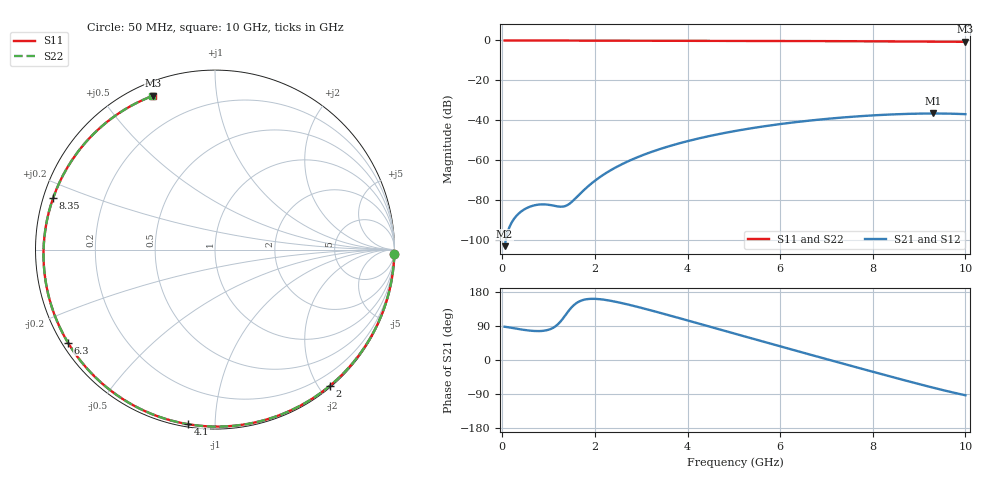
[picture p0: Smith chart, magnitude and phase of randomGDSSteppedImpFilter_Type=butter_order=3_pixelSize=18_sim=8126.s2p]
! freq	dB(S11)	phase(S11)	dB(S12)	phase(S12)
!  dB(S21)	phase(S21)	dB(S22)	phase(S22)
!S-par simulation data
#  GHz  S  DB  R 50
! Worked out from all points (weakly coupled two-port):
!   200 points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, 50 MHz to 10 GHz, reference 50 ohm
!   highest |S21| = -36.62 dB at 9.3 GHz (marker M1); lowest = -103.1 dB at 50 MHz (marker M2)
!   lowest |S11| = -0.7 dB at 10 GHz (marker M3), VSWR 25.32, Z = 2.87 + j33.7 ohm
!   |S11| at or under -10 dB: nowhere
!   |S22| runs from -0.7 to 0.0 dB; largest |S21 - S12| = 0
!   S11 on the Smith chart (normalised r, x): 50 MHz: 2, -88; 2 GHz: 0.02, -2.15; 4.1 GHz: 0.01, -0.86; 6.3 GHz: 0.02, -0.29; 8.35 GHz: 0.03, +0.16; 10 GHz: 0.06, +0.67
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0.05  -0.00 -1.3  -103.14 87.8  -103.14 87.8  -0.00 -1.3
0.75  -0.02 -19.1  -82.40 76.3  -82.40 76.3  -0.02 -19.1
1.55  -0.05 -39.0  -79.86 145.4  -79.86 145.4  -0.05 -39.0
1.75  -0.06 -43.9  -75.29 158.5  -75.29 158.5  -0.06 -43.9
2  -0.06 -50.0  -70.33 161.4  -70.33 161.4  -0.06 -50.0
2.3  -0.07 -57.2  -65.62 157.1  -65.62 157.1  -0.07 -57.2
2.6  -0.08 -64.3  -61.85 149.7  -61.85 149.7  -0.08 -64.3
3  -0.10 -73.7  -57.79 137.7  -57.79 137.7  -0.10 -73.7
3.4  -0.11 -82.9  -54.48 124.7  -54.48 124.7  -0.11 -82.9
4.1  -0.14 -98.8  -49.90 101.0  -49.90 101.0  -0.14 -98.7
4.55  -0.16 -108.8  -47.54 85.6  -47.54 85.6  -0.16 -108.8
5.05  -0.18 -119.9  -45.30 68.5  -45.30 68.5  -0.18 -119.8
5.65  -0.22 -133.1  -43.05 48.0  -43.05 48.0  -0.22 -133.1
6.3  -0.27 -147.7  -41.06 25.9  -41.06 25.9  -0.27 -147.6
6.7  -0.30 -156.8  -40.02 12.4  -40.02 12.4  -0.30 -156.8
7.15  -0.35 -167.4  -39.02 -2.7  -39.02 -2.7  -0.35 -167.3
7.55  -0.39 -177.1  -38.26 -16.1  -38.26 -16.1  -0.39 -177.0
7.95  -0.43 172.8  -37.64 -29.4  -37.64 -29.4  -0.43 172.9
8.35  -0.48 162.2  -37.15 -42.6  -37.15 -42.6  -0.48 162.3
8.85  -0.54 148.2  -36.75 -58.8  -36.75 -58.8  -0.54 148.3
9.3  -0.60 134.8  -36.62 -73.0  -36.62 -73.0  -0.60 134.9
10  -0.69 112.0  -36.96 -93.0  -36.96 -93.0  -0.69 112.1
